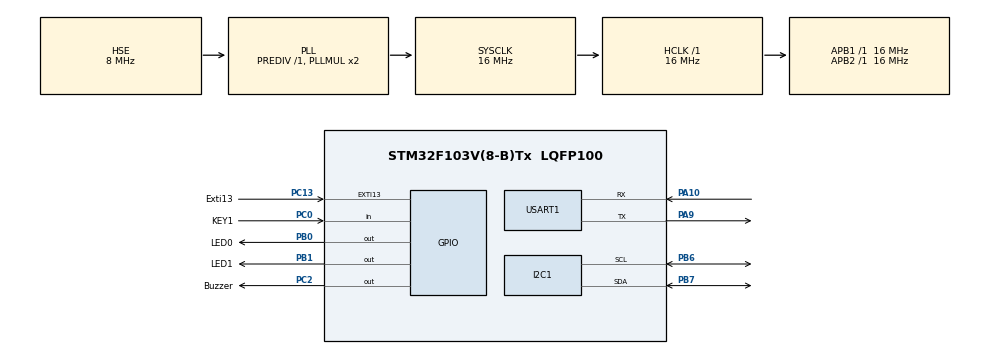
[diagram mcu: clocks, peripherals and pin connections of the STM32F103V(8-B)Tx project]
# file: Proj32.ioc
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Mcu.Family=STM32F1
Mcu.Name=STM32F103V(8-B)Tx
Mcu.Package=LQFP100
NVIC.EXTI15_10_IRQn=true\:0\:0\:false\:false\:true\:true\:true
NVIC.PriorityGroup=NVIC_PRIORITYGROUP_4
NVIC.USART1_IRQn=true\:0\:0\:false\:false\:true\:true\:true
OSC_IN.Mode=HSE-External-Oscillator
OSC_IN.Signal=RCC_OSC_IN
OSC_OUT.Mode=HSE-External-Oscillator
OSC_OUT.Signal=RCC_OSC_OUT
PA10.Mode=Asynchronous
PA10.Signal=USART1_RX
PA13.Mode=Serial_Wire
PA13.Signal=SYS_JTMS-SWDIO
PA14.Mode=Serial_Wire
PA14.Signal=SYS_JTCK-SWCLK
PA9.Mode=Asynchronous
PA9.Signal=USART1_TX
PB0.GPIO_Label=LED0
PB0.GPIO_ModeDefaultOutputPP=GPIO_MODE_OUTPUT_PP
PB0.GPIO_PuPd=GPIO_PULLUP
PB0.GPIO_Speed=GPIO_SPEED_FREQ_HIGH
PB0.PinState=GPIO_PIN_SET
PB0.Signal=GPIO_Output
PB1.GPIO_Label=LED1
PB1.GPIO_PuPd=GPIO_PULLDOWN
PB1.GPIO_Speed=GPIO_SPEED_FREQ_HIGH
PB1.PinState=GPIO_PIN_SET
PB1.Signal=GPIO_Output
PB6.Mode=I2C
PB6.Signal=I2C1_SCL
PB7.Mode=I2C
PB7.Signal=I2C1_SDA
PC0.GPIO_Label=KEY1
PC0.GPIO_PuPd=GPIO_PULLDOWN
PC0.Signal=GPIO_Input
PC13-TAMPER-RTC.GPIO_Label=Exti13
PC13-TAMPER-RTC.GPIO_ModeDefaultEXTI=GPIO_MODE_IT_RISING
PC13-TAMPER-RTC.GPIO_PuPd=GPIO_PULLDOWN
PC13-TAMPER-RTC.Signal=GPXTI13
PC2.GPIO_Label=Buzzer
PC2.GPIO_PuPd=GPIO_PULLDOWN
PC2.GPIO_Speed=GPIO_SPEED_FREQ_HIGH
PC2.PinState=GPIO_PIN_SET
PC2.Signal=GPIO_Output
ProjectManager.HeapSize=0x200
ProjectManager.StackSize=0x400
ProjectManager.TargetToolchain=STM32CubeIDE
RCC.AHBFreq_Value=16000000
RCC.APB1Freq_Value=16000000
RCC.APB1TimFreq_Value=16000000
RCC.APB2Freq_Value=16000000
RCC.APB2TimFreq_Value=16000000
RCC.HCLKFreq_Value=16000000
RCC.PLLSourceVirtual=RCC_PLLSOURCE_HSE
RCC.SYSCLKFreq_VALUE=16000000
RCC.SYSCLKSource=RCC_SYSCLKSOURCE_PLLCLK
RCC.USBFreq_Value=16000000
USART1.VirtualMode=VM_ASYNC
board=custom

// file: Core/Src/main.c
/* USER CODE BEGIN Header */
/**
  ******************************************************************************
  * @file           : main.c
  * @brief          : Main program body
  ******************************************************************************
  * @attention
  *
  * Copyright (c) 2021 STMicroelectronics.
  * All rights reserved.
  *
  * This software is licensed under terms that can be found in the LICENSE file
  * in the root directory of this software component.
  * If no LICENSE file comes with this software, it is provided AS-IS.
  *
  ******************************************************************************
  */
/* USER CODE END Header */
#include "main.h"

/* USER CODE BEGIN Includes */
#include "stdio.h"
/* USER CODE END Includes */

/* USER CODE BEGIN PTD */
uint8_t rx_buff[100];  //接收缓存
uint8_t rx_done = 0; //接收完成标志
uint8_t rx_cnt = 0;//接收数据长度
//IIC全局变量
#define ADDR_WR_AT24CXX 0xA0 //写器件地址
#define ADDR_RD_AT24CXX 0xA1 //读器件地址
#define BuffSize 256
uint8_t Wr_buff[BuffSize],Rd_buff[BuffSize];//读写数据buff
/* USER CODE END PTD */

/* USER CODE BEGIN PD */
void EEPROM_IIC_Test(void);
/* USER CODE END PD */

I2C_HandleTypeDef hi2c1;

UART_HandleTypeDef huart1;

void SystemClock_Config(void);
static void MX_GPIO_Init(void);
static void MX_USART1_UART_Init(void);
static void MX_I2C1_Init(void);

int main(void)
{

  /* MCU Configuration--------------------------------------------------------*/

  /* Reset of all peripherals, Initializes the Flash interface and the Systick. */
  HAL_Init();

  /* Configure the system clock */
  SystemClock_Config();

  /* Initialize all configured peripherals */
  MX_GPIO_Init();
  MX_USART1_UART_Init();
  MX_I2C1_Init();
  /* USER CODE BEGIN 2 */
  //EEPROM测试
  EEPROM_IIC_Test();
  /* USER CODE END 2 */

  /* Infinite loop */
  /* USER CODE BEGIN WHILE */
  while (1)
  {
      if(rx_done == 1)//判读是否接收完成
      {
          rx_done = 0;//清除接收标志
          //数据处理，打印接收长度、接收的数据
          printf("length of rx data: %d!\r\n",rx_cnt);
          for(int i = 0;i<rx_cnt;i++) printf("%c",rx_buff[i]);
          printf("\r\n");

          rx_cnt =0;//清除接收长度
      }
    /* USER CODE END WHILE */

  }
}

void SystemClock_Config(void)
{
  RCC_OscInitTypeDef RCC_OscInitStruct = {0};
  RCC_ClkInitTypeDef RCC_ClkInitStruct = {0};

  /** Initializes the RCC Oscillators according to the specified parameters
  * in the RCC_OscInitTypeDef structure.
  */
  RCC_OscInitStruct.OscillatorType = RCC_OSCILLATORTYPE_HSE;
  RCC_OscInitStruct.HSEState = RCC_HSE_ON;
  RCC_OscInitStruct.HSEPredivValue = RCC_HSE_PREDIV_DIV1;
  RCC_OscInitStruct.HSIState = RCC_HSI_ON;
  RCC_OscInitStruct.PLL.PLLState = RCC_PLL_ON;
  RCC_OscInitStruct.PLL.PLLSource = RCC_PLLSOURCE_HSE;
  RCC_OscInitStruct.PLL.PLLMUL = RCC_PLL_MUL2;
  if (HAL_RCC_OscConfig(&RCC_OscInitStruct) != HAL_OK)
  {
    Error_Handler();
  }
  /** Initializes the CPU, AHB and APB buses clocks
  */
  RCC_ClkInitStruct.ClockType = RCC_CLOCKTYPE_HCLK|RCC_CLOCKTYPE_SYSCLK
                              |RCC_CLOCKTYPE_PCLK1|RCC_CLOCKTYPE_PCLK2;
  RCC_ClkInitStruct.SYSCLKSource = RCC_SYSCLKSOURCE_PLLCLK;
  RCC_ClkInitStruct.AHBCLKDivider = RCC_SYSCLK_DIV1;
  RCC_ClkInitStruct.APB1CLKDivider = RCC_HCLK_DIV1;
  RCC_ClkInitStruct.APB2CLKDivider = RCC_HCLK_DIV1;

  if (HAL_RCC_ClockConfig(&RCC_ClkInitStruct, FLASH_LATENCY_0) != HAL_OK)
  {
    Error_Handler();
  }
}

static void MX_I2C1_Init(void)
{

  hi2c1.Instance = I2C1;
  hi2c1.Init.ClockSpeed = 100000;
  hi2c1.Init.DutyCycle = I2C_DUTYCYCLE_2;
  hi2c1.Init.OwnAddress1 = 0;
  hi2c1.Init.AddressingMode = I2C_ADDRESSINGMODE_7BIT;
  hi2c1.Init.DualAddressMode = I2C_DUALADDRESS_DISABLE;
  hi2c1.Init.OwnAddress2 = 0;
  hi2c1.Init.GeneralCallMode = I2C_GENERALCALL_DISABLE;
  hi2c1.Init.NoStretchMode = I2C_NOSTRETCH_DISABLE;
  if (HAL_I2C_Init(&hi2c1) != HAL_OK)
  {
    Error_Handler();
  }

}

static void MX_USART1_UART_Init(void)
{

  huart1.Instance = USART1;
  huart1.Init.BaudRate = 115200;
  huart1.Init.WordLength = UART_WORDLENGTH_8B;
  huart1.Init.StopBits = UART_STOPBITS_1;
  huart1.Init.Parity = UART_PARITY_NONE;
  huart1.Init.Mode = UART_MODE_TX_RX;
  huart1.Init.HwFlowCtl = UART_HWCONTROL_NONE;
  huart1.Init.OverSampling = UART_OVERSAMPLING_16;
  if (HAL_UART_Init(&huart1) != HAL_OK)
  {
    Error_Handler();
  }
  /* USER CODE BEGIN USART1_Init 2 */
  //开启接收中断，空闲中断
  __HAL_UART_ENABLE_IT(&huart1,UART_IT_IDLE|UART_IT_RXNE);
  /* USER CODE END USART1_Init 2 */

}

static void MX_GPIO_Init(void)
{
  GPIO_InitTypeDef GPIO_InitStruct = {0};

  /* GPIO Ports Clock Enable */
  __HAL_RCC_GPIOC_CLK_ENABLE();
  __HAL_RCC_GPIOB_CLK_ENABLE();
  __HAL_RCC_GPIOA_CLK_ENABLE();

  /*Configure GPIO pin Output Level */
  HAL_GPIO_WritePin(Buzzer_GPIO_Port, Buzzer_Pin, GPIO_PIN_SET);

  /*Configure GPIO pin Output Level */
  HAL_GPIO_WritePin(GPIOB, LED0_Pin|LED1_Pin, GPIO_PIN_SET);

  /*Configure GPIO pin : Exti13_Pin */
  GPIO_InitStruct.Pin = Exti13_Pin;
  GPIO_InitStruct.Mode = GPIO_MODE_IT_RISING;
  GPIO_InitStruct.Pull = GPIO_PULLDOWN;
  HAL_GPIO_Init(Exti13_GPIO_Port, &GPIO_InitStruct);

  /*Configure GPIO pin : KEY1_Pin */
  GPIO_InitStruct.Pin = KEY1_Pin;
  GPIO_InitStruct.Mode = GPIO_MODE_INPUT;
  GPIO_InitStruct.Pull = GPIO_PULLDOWN;
  HAL_GPIO_Init(KEY1_GPIO_Port, &GPIO_InitStruct);

  /*Configure GPIO pin : Buzzer_Pin */
  GPIO_InitStruct.Pin = Buzzer_Pin;
  GPIO_InitStruct.Mode = GPIO_MODE_OUTPUT_PP;
  GPIO_InitStruct.Pull = GPIO_PULLDOWN;
  GPIO_InitStruct.Speed = GPIO_SPEED_FREQ_HIGH;
  HAL_GPIO_Init(Buzzer_GPIO_Port, &GPIO_InitStruct);

  /*Configure GPIO pin : LED0_Pin */
  GPIO_InitStruct.Pin = LED0_Pin;
  GPIO_InitStruct.Mode = GPIO_MODE_OUTPUT_PP;
  GPIO_InitStruct.Pull = GPIO_PULLUP;
  GPIO_InitStruct.Speed = GPIO_SPEED_FREQ_HIGH;
  HAL_GPIO_Init(LED0_GPIO_Port, &GPIO_InitStruct);

  /*Configure GPIO pin : LED1_Pin */
  GPIO_InitStruct.Pin = LED1_Pin;
  GPIO_InitStruct.Mode = GPIO_MODE_OUTPUT_PP;
  GPIO_InitStruct.Pull = GPIO_PULLDOWN;
  GPIO_InitStruct.Speed = GPIO_SPEED_FREQ_HIGH;
  HAL_GPIO_Init(LED1_GPIO_Port, &GPIO_InitStruct);

  /* EXTI interrupt init*/
  HAL_NVIC_SetPriority(EXTI15_10_IRQn, 0, 0);
  HAL_NVIC_EnableIRQ(EXTI15_10_IRQn);

}

/* USER CODE BEGIN 4 */
//EEPROM测试
void EEPROM_IIC_Test(void)
{
    HAL_StatusTypeDef error;
    uint8_t length = 8 ;
    for(uint16_t i = 0;i<256;i++) Wr_buff[i] = i;
    //AT24Cxx地址00开始写入8Byte数据
    error = HAL_I2C_Mem_Write(&hi2c1,ADDR_WR_AT24CXX,0x00,I2C_MEMADD_SIZE_16BIT,Wr_buff,length,1000);
    if(error == HAL_OK) printf("eeprom wirte done!\r\n");
    else                printf("eeprom wirte fail!\r\n");
    HAL_Delay(1000);
    //从地址0x00开始读8Byte数据，并打印。
    error = HAL_I2C_Mem_Read(&hi2c1,ADDR_RD_AT24CXX,0x00,I2C_MEMADD_SIZE_16BIT,Rd_buff,length,1000);
    if(error == HAL_OK)
    {
        printf("eeprom read done!\r\n");
        for(uint16_t i=0;i<length;i++)
        {
            printf("0x%02x ",Rd_buff[i]);
        }
        printf("\r\n");
    }
    else  printf("eeprom wirte fail!\r\n");
}

//重写GPIO中断回调函数
void HAL_GPIO_EXTI_Callback(uint16_t GPIO_Pin)
{
    //翻转LED0
    HAL_GPIO_TogglePin(LED0_GPIO_Port,LED0_Pin);
    //打印中断处理信息
    printf("ExTi13 interrput!\r\n");
}

#ifdef __GNUC__
#define PUTCHAR_PROTOTYPE int __io_putchar(int ch)
#else
#define PUTCHAR_PROTOTYPE int fputc(int ch. FILE *f)
#endif /* __GNUC__ */

//重定向printf函数
PUTCHAR_PROTOTYPE
{
    HAL_UART_Transmit(&huart1,(uint8_t *)&ch,1,0xFFFF);//输出指向串口USART1
    return ch;
}
/* USER CODE END 4 */

void Error_Handler(void)
{
  __disable_irq();
  while (1)
  {
  }
}
